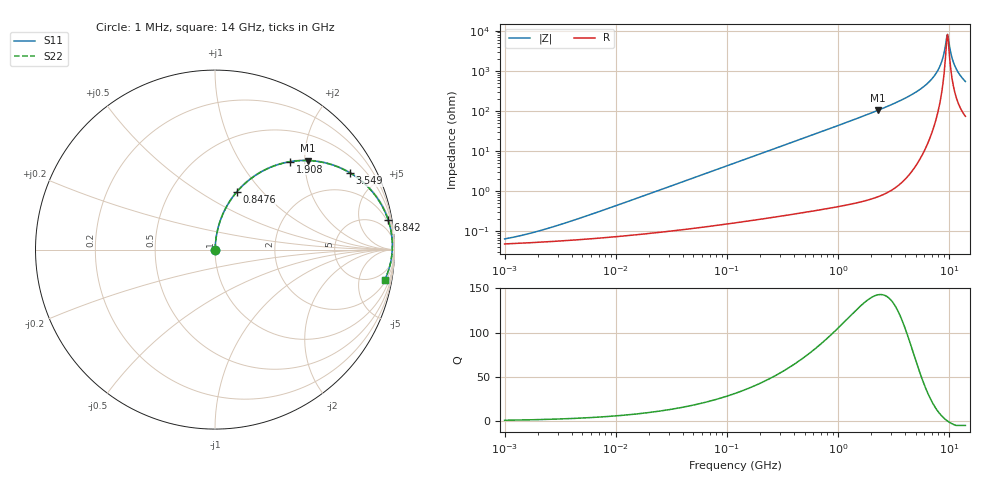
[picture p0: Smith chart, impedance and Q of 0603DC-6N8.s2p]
# MHz  S  MA  R  50
!Freq  MagS11  AngS11  MagS21  AngS21  MagS12  AngS12  MagS22  AngS22
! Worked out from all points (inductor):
!   801 points, 1 MHz to 14 GHz, reference 50 ohm
!   read as one part in series: L = 6.8 nH near 4.288 MHz
!   highest Q = 143 at 2.282 GHz (marker M1), where L = 7.2 nH
!   self-resonance near 9.556 GHz
!   S11 on the Smith chart (normalised r, x): 1 MHz: 1.00, +0.00; 847.6 MHz: 1.01, +0.73; 1.908 GHz: 1.01, +1.70; 3.549 GHz: 1.03, +3.51; 6.842 GHz: 1, +12; 14 GHz: 2, -11
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1  0.000646 41.4  0.9995 -0.0  0.9995 -0.0  0.000646 41.4
1.997994  0.001006 58.0  0.9995 -0.0  0.9995 -0.0  0.001006 58.0
4.948533  0.002204 73.4  0.9994 -0.1  0.9994 -0.1  0.002204 73.4
24.19749  0.01037 84.2  0.999 -0.6  0.999 -0.6  0.01037 84.2
119.742  0.05104 85.3  0.9971 -2.9  0.9971 -2.9  0.05104 85.3
585.5183  0.2428 75.2  0.967 -14.1  0.967 -14.1  0.2428 75.2
847.6234  0.3417 69.4  0.9363 -20.0  0.9363 -20.0  0.3417 69.4
1908.2  0.6447 49.4  0.7598 -40.1  0.7598 -40.1  0.6447 49.4
2282.253  0.7159 43.9  0.6932 -45.7  0.6932 -45.7  0.7159 43.9
2863.085  0.799 36.6  0.5957 -53.0  0.5957 -53.0  0.799 36.6
3549.132  0.8656 29.6  0.4937 -59.9  0.4937 -59.9  0.8656 29.6
5199.568  0.9481 17.6  0.303 -71.4  0.303 -71.4  0.9481 17.6
6841.769  0.9791 9.6  0.1669 -78.0  0.1669 -78.0  0.9791 9.6
8281.157  0.9879 4.2  0.07454 -78.5  0.07454 -78.5  0.9879 4.2
8790.312  0.9886 2.6  0.04642 -74.5  0.04642 -74.5  0.9886 2.6
9330.772  0.9883 1.0  0.02025 -54.3  0.02025 -54.3  0.9883 1.0
9670.871  0.9877 -0.0  0.01231 2.1  0.01231 2.1  0.9877 -0.0
9904.462  0.9871 -0.7  0.01747 42.0  0.01747 42.0  0.9871 -0.7
10639.64  0.9843 -2.6  0.0482 69.7  0.0482 69.7  0.9843 -2.6
11429.38  0.9802 -4.6  0.08162 73.7  0.08162 73.7  0.9802 -4.6
12574.31  0.9724 -7.2  0.1266 73.8  0.1266 73.8  0.9724 -7.2
14000  0.9604 -10.1  0.1773 72.1  0.1773 72.1  0.9604 -10.1
